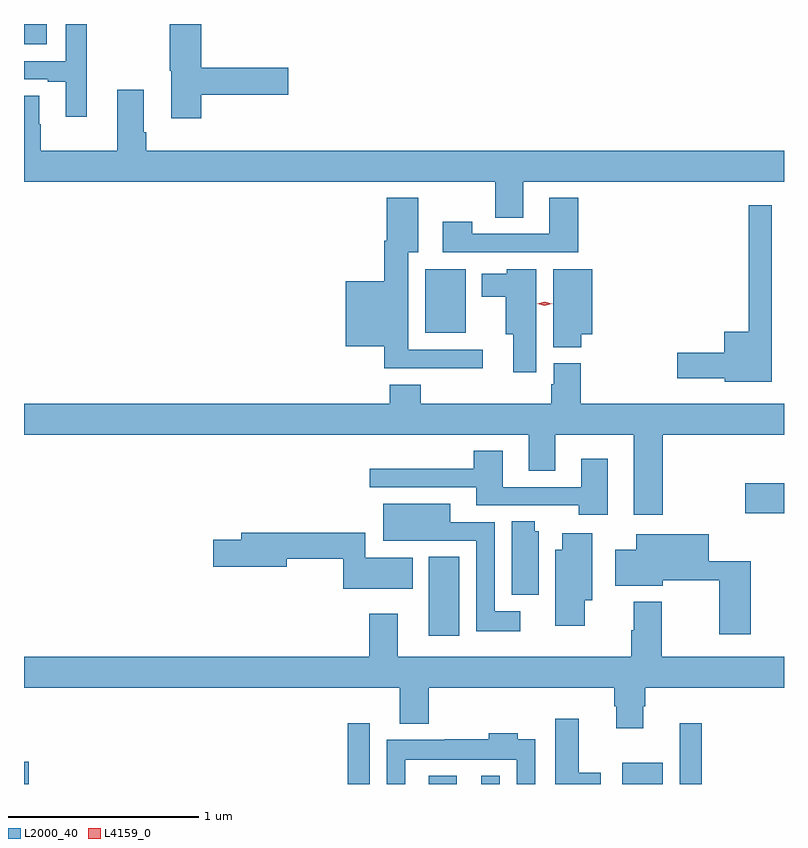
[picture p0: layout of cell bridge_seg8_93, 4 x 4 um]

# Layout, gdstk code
import gdstk
lib = gdstk.Library(unit=1e-6, precision=1e-09)
def R(c, l, rs):  # rectangles x0, y0, x1, y1
    for r in rs: c.add(gdstk.rectangle(r[:2], r[2:], *l))
def P(c, l, *ps):  # polygons
    for p in ps: c.add(gdstk.Polygon(p, *l))
L2000_40 = (2000, 40)
L4159_0 = (4159, 0)

bridge_seg8_93 = lib.new_cell('bridge_seg8_93')
R(bridge_seg8_93, L2000_40, [(646.081,1111.998,646.106,1112.116), (647.785,1111.998,647.901,1112.317), (648.212,1111.998,648.358,1112.041), (648.488,1111.998,648.585,1112.041), (649.229,1111.998,649.444,1112.11), (649.533,1111.998,649.649,1112.317), (648.212,1112.778,648.373,1113.193), (649.878,1113.422,650.081,1113.58), (648.194,1114.373,648.406,1114.708), (646.081,1115.891,646.201,1115.998)])
P(bridge_seg8_93, L2000_40, [(647.015,1115.626),(647.473,1115.626),(647.473,1115.768),(647.015,1115.768),(647.015,1115.998),(646.849,1115.998),(646.849,1115.751),(646.856,1115.751),(646.856,1115.502),(647.015,1115.502)],
  [(646.411,1115.998),(646.302,1115.998),(646.302,1115.802),(646.081,1115.802),(646.081,1115.706),(646.205,1115.706),(646.205,1115.694),(646.301,1115.694),(646.301,1115.511),(646.411,1115.511)],
  [(648.709,1115.168),(650.081,1115.168),(650.081,1115.332),(646.724,1115.332),(646.724,1115.428),(646.711,1115.428),(646.711,1115.653),(646.571,1115.653),(646.571,1115.332),(646.17,1115.332),(646.17,1115.471),(646.162,1115.471),(646.162,1115.621),(646.081,1115.621),(646.081,1115.168),(648.562,1115.168),(648.562,1114.978),(648.709,1114.978)],
  [(648.998,1115.083),(648.845,1115.083),(648.845,1114.893),(648.441,1114.893),(648.441,1114.957),(648.285,1114.957),(648.285,1114.797),(648.998,1114.797)],
  [(648.496,1114.284),(648.103,1114.284),(648.103,1114.796),(648.157,1114.796),(648.157,1115.083),(647.99,1115.083),(647.99,1114.856),(647.978,1114.856),(647.978,1114.645),(647.774,1114.645),(647.774,1114.301),(647.978,1114.301),(647.978,1114.187),(648.496,1114.187)],
  [(650.017,1115.044),(649.896,1115.044),(649.896,1114.378),(649.766,1114.378),(649.766,1114.268),(649.518,1114.268),(649.518,1114.133),(649.77,1114.133),(649.77,1114.115),(650.017,1114.115)],
  [(649.013,1114.364),(649.072,1114.364),(649.072,1114.708),(648.866,1114.708),(648.866,1114.297),(649.013,1114.297)],
  [(648.778,1114.708),(648.621,1114.708),(648.621,1114.684),(648.491,1114.684),(648.491,1114.562),(648.617,1114.562),(648.617,1114.364),(648.656,1114.364),(648.656,1114.164),(648.778,1114.164)],
  [(649.442,1113.836),(650.081,1113.836),(650.081,1114),(649.01,1114),(649.01,1114.212),(648.869,1114.212),(648.869,1114.101),(648.857,1114.101),(648.857,1114),(648.17,1114),(648.17,1114.099),(648.005,1114.099),(648.005,1114),(646.081,1114),(646.081,1113.836),(648.737,1113.836),(648.737,1113.646),(648.877,1113.646),(648.877,1113.836),(649.289,1113.836),(649.289,1113.414),(649.442,1113.414)],
  [(649.153,1113.709),(649.013,1113.709),(649.013,1113.561),(648.601,1113.561),(648.601,1113.751),(648.449,1113.751),(648.449,1113.658),(647.901,1113.658),(647.901,1113.561),(648.461,1113.561),(648.461,1113.465),(649.001,1113.465),(649.001,1113.414),(649.153,1113.414)],
  [(648.694,1112.908),(648.558,1112.908),(648.558,1113.375),(648.325,1113.375),(648.325,1113.472),(647.972,1113.472),(647.972,1113.278),(648.216,1113.278),(648.216,1113.279),(648.462,1113.279),(648.462,1112.801),(648.694,1112.801)],
  [(648.79,1113.327),(648.769,1113.327),(648.769,1113.38),(648.647,1113.38),(648.647,1112.993),(648.79,1112.993)],
  [(648.127,1113.19),(647.878,1113.19),(647.878,1113.32),(647.225,1113.32),(647.225,1113.284),(647.076,1113.284),(647.076,1113.142),(647.464,1113.142),(647.464,1113.184),(647.761,1113.184),(647.761,1113.026),(648.127,1113.026)],
  [(649.033,1112.966),(649.072,1112.966),(649.072,1113.319),(648.914,1113.319),(648.914,1113.232),(648.878,1113.232),(648.878,1112.832),(649.033,1112.832)],
  [(649.906,1113.171),(649.684,1113.171),(649.684,1113.313),(649.304,1113.313),(649.304,1113.232),(649.193,1113.232),(649.193,1113.041),(649.444,1113.041),(649.444,1113.071),(649.741,1113.071),(649.741,1112.787),(649.906,1112.787)],
  [(649.339,1112.406),(649.352,1112.406),(649.352,1112.504),(650.081,1112.504),(650.081,1112.668),(649.437,1112.668),(649.437,1112.956),(649.289,1112.956),(649.289,1112.807),(649.277,1112.807),(649.277,1112.668),(648.049,1112.668),(648.049,1112.893),(647.897,1112.893),(647.897,1112.668),(646.081,1112.668),(646.081,1112.504),(648.059,1112.504),(648.059,1112.315),(648.212,1112.315),(648.212,1112.504),(649.187,1112.504),(649.187,1112.406),(649.199,1112.406),(649.199,1112.292),(649.339,1112.292)],
  [(649.117,1112.058),(649,1112.058),(649,1112.341),(648.878,1112.341),(648.878,1111.998),(649.117,1111.998)],
  [(648.087,1112.126),(648.675,1112.126),(648.675,1111.998),(648.771,1111.998),(648.771,1112.233),(648.679,1112.233),(648.679,1112.266),(648.527,1112.266),(648.527,1112.233),(648.295,1112.233),(648.295,1112.23),(647.991,1112.23),(647.991,1111.998),(648.087,1111.998)])
P(bridge_seg8_93, L4159_0, [(648.821,1114.515),(648.783,1114.525),(648.783,1114.525),(648.783,1114.526),(648.821,1114.535),(648.859,1114.526),(648.86,1114.525),(648.859,1114.525)])

lib.write_gds('bridge_seg8_93.gds')
